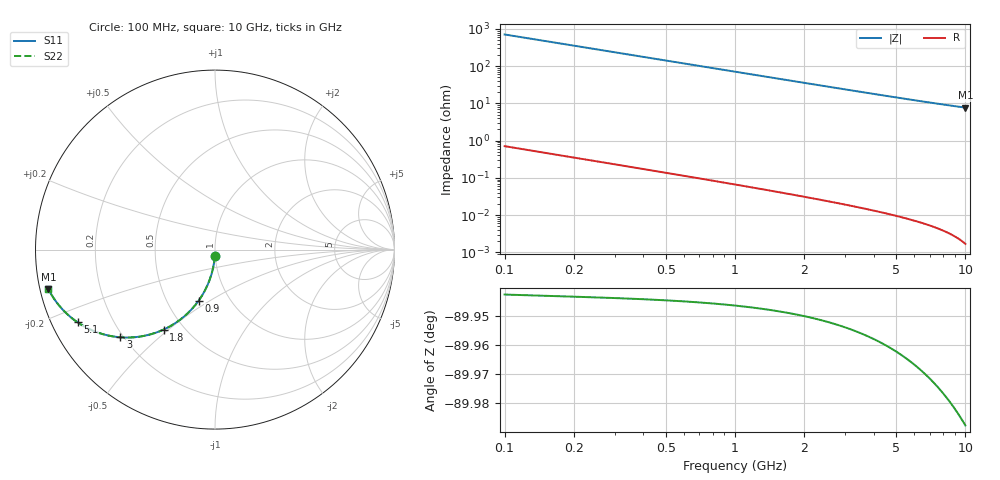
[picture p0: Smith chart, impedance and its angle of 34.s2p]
# Hz S RI R 50.00
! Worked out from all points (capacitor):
!   100 points, 100 MHz to 10 GHz, reference 50 ohm
!   read as one part in shunt: C = 2.24 pF near 100 MHz
!   lowest |Z| = 7.72 ohm at 10 GHz (marker M1)
!   S11 on the Smith chart (normalised r, x): 100 MHz: 1.00, -0.07; 900 MHz: 0.72, -0.45; 1.8 GHz: 0.39, -0.48; 3 GHz: 0.19, -0.38; 5.1 GHz: 0.08, -0.25; 10 GHz: 0.02, -0.12
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1e8  -0.00103 -0.0348  0.9985 -0.0354  0.9985 -0.0354  -0.00103 -0.0348
2e8  -0.00475 -0.0693  0.9948 -0.0706  0.9948 -0.0706  -0.00475 -0.0693
3e8  -0.0109 -0.1032  0.9887 -0.1053  0.9887 -0.1053  -0.0109 -0.1032
4e8  -0.0193 -0.1365  0.9802 -0.1392  0.9802 -0.1392  -0.0193 -0.1365
5e8  -0.0299 -0.1687  0.9696 -0.1721  0.9696 -0.1721  -0.0299 -0.1687
6e8  -0.0425 -0.1998  0.957 -0.2039  0.957 -0.2039  -0.0425 -0.1998
7e8  -0.057 -0.2295  0.9425 -0.2343  0.9425 -0.2343  -0.057 -0.2295
9e8  -0.091 -0.2844  0.9085 -0.2905  0.9085 -0.2905  -0.091 -0.2844
1.1e9  -0.1301 -0.3325  0.8694 -0.3399  0.8694 -0.3399  -0.1301 -0.3325
1.3e9  -0.1729 -0.3735  0.8266 -0.3822  0.8266 -0.3822  -0.1729 -0.3735
1.5e9  -0.2177 -0.4073  0.7817 -0.4174  0.7817 -0.4174  -0.2177 -0.4073
1.8e9  -0.2862 -0.4455  0.7132 -0.4577  0.7132 -0.4577  -0.2862 -0.4455
2.3e9  -0.3959 -0.4808  0.6034 -0.4964  0.6034 -0.4964  -0.3959 -0.4808
2.6e9  -0.456 -0.4888  0.5433 -0.5063  0.5433 -0.5063  -0.456 -0.4888
3e9  -0.5278 -0.4885  0.4715 -0.5088  0.4715 -0.5088  -0.5278 -0.4885
3.4e9  -0.5898 -0.4797  0.4094 -0.5028  0.4094 -0.5028  -0.5898 -0.4797
4.2e9  -0.6877 -0.4484  0.3113 -0.4769  0.3113 -0.4769  -0.6877 -0.4484
5.1e9  -0.7655 -0.4054  0.2334 -0.4402  0.2334 -0.4402  -0.7655 -0.4054
5.9e9  -0.8145 -0.3673  0.1841 -0.4078  0.1841 -0.4078  -0.8145 -0.3673
6.7e9  -0.8506 -0.332  0.1477 -0.3781  0.1477 -0.3781  -0.8506 -0.332
8.4e9  -0.9007 -0.2676  0.097 -0.3261  0.097 -0.3261  -0.9007 -0.2676
1e10  -0.9287 -0.2187  0.0682 -0.2894  0.0682 -0.2894  -0.9287 -0.2187
